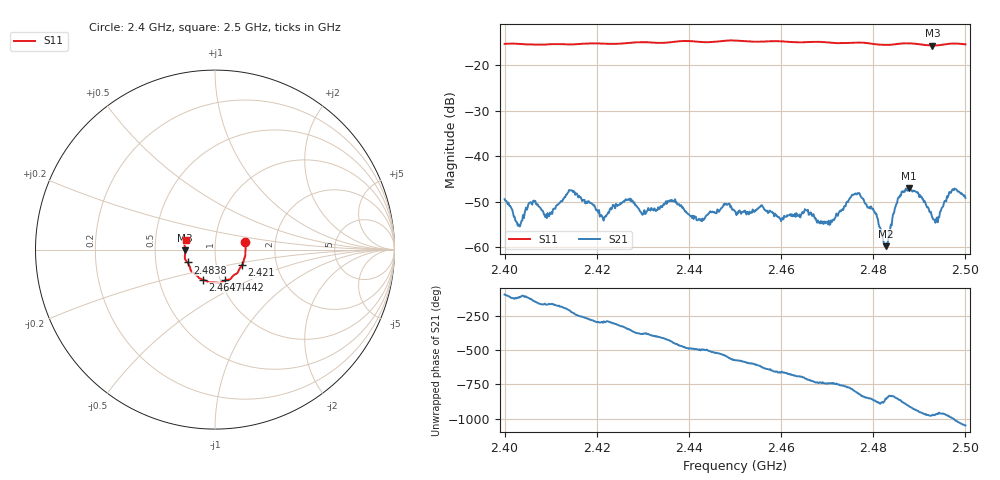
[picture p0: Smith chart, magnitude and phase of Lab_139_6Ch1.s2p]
# Hz S RI R 50
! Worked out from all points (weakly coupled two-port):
!   601 points, 2.4 GHz to 2.5 GHz, reference 50 ohm
!   highest |S21| = -47.03 dB at 2.4877 GHz (marker M1); lowest = -59.8 dB at 2.4828 GHz (marker M2)
!   lowest |S11| = -15.6 dB at 2.4928 GHz (marker M3), VSWR 1.40, Z = 35.8 - j0.343 ohm
!   |S11| at or under -10 dB: start of sweep to end of sweep
!   S12 and S22 are empty: the file has one direction only
!   S11 on the Smith chart (normalised r, x): 2.4 GHz: 1.40, +0.12; 2.421 GHz: 1.33, -0.24; 2.4442 GHz: 1.05, -0.37; 2.4647 GHz: 0.83, -0.29; 2.4838 GHz: 0.73, -0.11; 2.5 GHz: 0.72, +0.08
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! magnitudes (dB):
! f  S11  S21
! 2.4 GHz  -15.3  -49.4
! 2.403 GHz  -15.2  -55.0
! 2.4058 GHz  -15.4  -50.4
! 2.4092 GHz  -15.4  -53.6
! 2.4142 GHz  -15.4  -47.5
! 2.4167 GHz  -15.2  -49.4
! 2.421 GHz  -15.2  -52.9
! 2.4268 GHz  -15.1  -49.5
! 2.4333 GHz  -15.0  -51.2
! 2.4442 GHz  -14.9  -52.7
! 2.45 GHz  -14.5  -52.1
! 2.4647 GHz  -14.9  -52.2
! 2.4667 GHz  -14.8  -53.0
! 2.4707 GHz  -15.0  -55.0
! 2.4767 GHz  -15.0  -48.1
! 2.4828 GHz  -15.5  -59.8
! 2.4833 GHz  -15.5  -57.8
! 2.4838 GHz  -15.4  -55.0
! 2.4877 GHz  -15.1  -47.0
! 2.4928 GHz  -15.6  -53.5
! 2.4975 GHz  -15.2  -47.4
! 2.5 GHz  -15.4  -49.2
